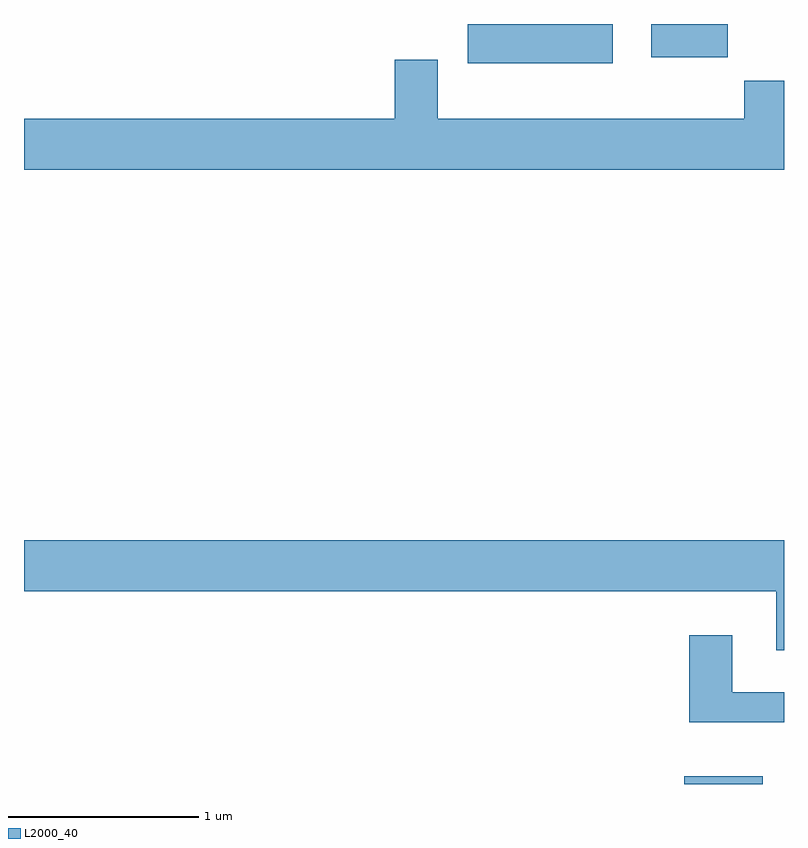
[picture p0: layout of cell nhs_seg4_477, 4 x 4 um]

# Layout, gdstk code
import gdstk
lib = gdstk.Library(unit=1e-6, precision=1e-09)
def R(c, l, rs):  # rectangles x0, y0, x1, y1
    for r in rs: c.add(gdstk.rectangle(r[:2], r[2:], *l))
def P(c, l, *ps):  # polygons
    for p in ps: c.add(gdstk.Polygon(p, *l))
L2000_40 = (2000, 40)

nhs_seg4_477 = lib.new_cell('nhs_seg4_477')
R(nhs_seg4_477, L2000_40, [(203.086,1255.982,203.499,1256.024), (201.946,1259.776,202.709,1259.982), (202.911,1259.806,203.314,1259.982)])
P(nhs_seg4_477, L2000_40, [(203.611,1259.684),(203.401,1259.684),(203.401,1259.484),(201.789,1259.484),(201.789,1259.794),(201.561,1259.794),(201.561,1259.484),(199.611,1259.484),(199.611,1259.216),(203.611,1259.216)],
  [(203.611,1257.264),(199.611,1257.264),(199.611,1256.996),(203.571,1256.996),(203.571,1256.686),(203.611,1256.686)],
  [(203.611,1256.464),(203.339,1256.464),(203.339,1256.764),(203.111,1256.764),(203.111,1256.306),(203.611,1256.306)])

lib.write_gds('nhs_seg4_477.gds')
